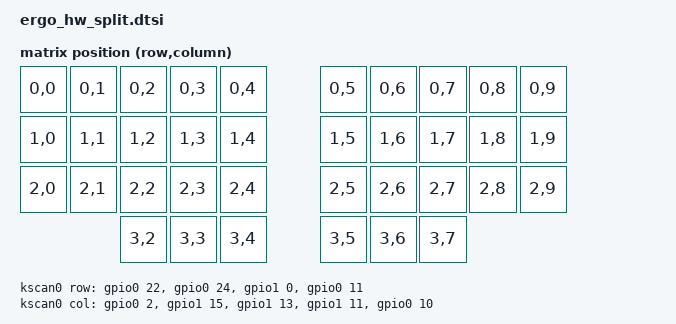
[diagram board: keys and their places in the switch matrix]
#include <dt-bindings/zmk/matrix_transform.h>

/ {
    chosen {
        zmk,kscan = &kscan0;
        zmk,matrix-transform = &default_transform;
    };

    kscan0: kscan_0 {
        compatible = "zmk,kscan-gpio-matrix";
        
        // La parte negra del diodo apunta a las columnas
        diode-direction = "row2col"; 

        // Tus 4 pines de filas (022, 024, 100, 011)
        row-gpios
            = <&gpio0 22 GPIO_ACTIVE_HIGH>
            , <&gpio0 24 GPIO_ACTIVE_HIGH>
            , <&gpio1 0  GPIO_ACTIVE_HIGH>
            , <&gpio0 11 GPIO_ACTIVE_HIGH>
            ;

        // Tus 5 pines de columnas (002, 115, 113, 111, 010)
        // Al ser row2col, las columnas necesitan la resistencia PULL_DOWN
        col-gpios
            = <&gpio0 2  (GPIO_ACTIVE_HIGH | GPIO_PULL_DOWN)>
            , <&gpio1 15 (GPIO_ACTIVE_HIGH | GPIO_PULL_DOWN)>
            , <&gpio1 13 (GPIO_ACTIVE_HIGH | GPIO_PULL_DOWN)>
            , <&gpio1 11 (GPIO_ACTIVE_HIGH | GPIO_PULL_DOWN)>
            , <&gpio0 10 (GPIO_ACTIVE_HIGH | GPIO_PULL_DOWN)>
            ;
    };

    default_transform: keymap_transform_0 {
        compatible = "zmk,matrix-transform";
        columns = <10>; 
        rows = <4>;
        
        map = <
RC(0,0) RC(0,1) RC(0,2) RC(0,3) RC(0,4)   RC(0,5) RC(0,6) RC(0,7) RC(0,8) RC(0,9)
RC(1,0) RC(1,1) RC(1,2) RC(1,3) RC(1,4)   RC(1,5) RC(1,6) RC(1,7) RC(1,8) RC(1,9)
RC(2,0) RC(2,1) RC(2,2) RC(2,3) RC(2,4)   RC(2,5) RC(2,6) RC(2,7) RC(2,8) RC(2,9)
                RC(3,2) RC(3,3) RC(3,4)   RC(3,5) RC(3,6) RC(3,7)
        >;
    };
};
